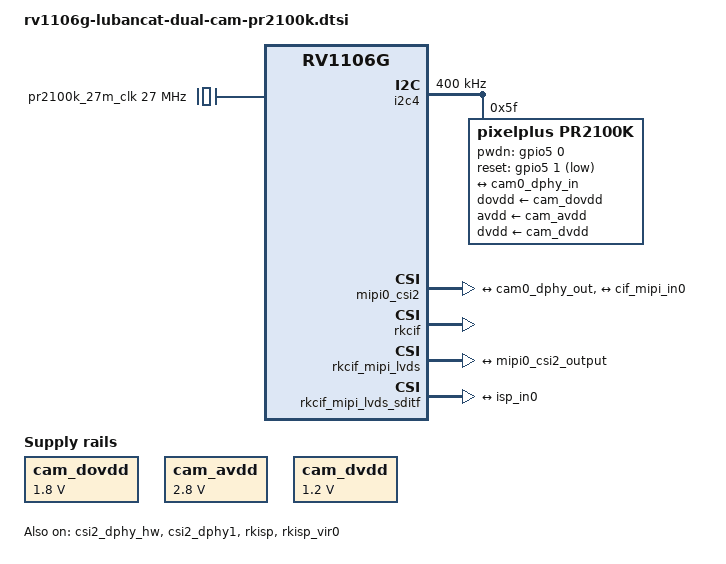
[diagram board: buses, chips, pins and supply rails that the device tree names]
// SPDX-License-Identifier: (GPL-2.0+ OR MIT)
/*
 * Dual AHD Camera via PR2100K Video Decoder on I2C4 (2-lane MIPI CSI-2)
 *
 * Copyright (c) 2026 Rockchip Electronics Co., Ltd.
 */

/ {
	pr2100k_27m_clk: pr2100k-27m-clock {
		compatible = "fixed-clock";
		#clock-cells = <0>;
		clock-frequency = <27000000>;
		clock-output-names = "pr2100k_27m_crystal";
	};

	cam_dovdd: cam-dovdd {
		compatible = "regulator-fixed";
		regulator-name = "cam_dovdd";
		regulator-always-on;
		regulator-boot-on;
		regulator-min-microvolt = <1800000>;
		regulator-max-microvolt = <1800000>;
	};

	cam_avdd: cam-avdd {
		compatible = "regulator-fixed";
		regulator-name = "cam_avdd";
		regulator-always-on;
		regulator-boot-on;
		regulator-min-microvolt = <2800000>;
		regulator-max-microvolt = <2800000>;
	};

	cam_dvdd: cam-dvdd {
		compatible = "regulator-fixed";
		regulator-name = "cam_dvdd";
		regulator-always-on;
		regulator-boot-on;
		regulator-min-microvolt = <1200000>;
		regulator-max-microvolt = <1200000>;
	};
};

&csi2_dphy_hw {
	status = "okay";
};

&csi2_dphy1 {
	status = "okay";

	ports {
		#address-cells = <1>;
		#size-cells = <0>;

		port@0 {
			reg = <0>;
			#address-cells = <1>;
			#size-cells = <0>;

			cam0_dphy_in: endpoint@0 {
				reg = <0>;
				remote-endpoint = <&pr2100k_out>;
				data-lanes = <1 2>;
			};
		};

		port@1 {
			reg = <1>;

			cam0_dphy_out: endpoint {
				remote-endpoint = <&mipi0_csi2_input>;
			};
		};
	};
};

&i2c4 {
	status = "okay";
	clock-frequency = <400000>;
	pinctrl-names = "default";
	pinctrl-0 = <&i2c4m2_xfer>;

	pr2100k: pr2100k@5f {
		compatible = "pixelplus,pr2100k";
		status = "okay";
		reg = <0x5f>;
		clocks = <&pr2100k_27m_clk>;
		clock-names = "xvclk";
		pwdn-gpios = <&gpio5 0 GPIO_ACTIVE_HIGH>;
		reset-gpios = <&gpio5 1 GPIO_ACTIVE_LOW>;
		dovdd-supply = <&cam_dovdd>;
		avdd-supply = <&cam_avdd>;
		dvdd-supply = <&cam_dvdd>;
		rockchip,camera-module-index = <0>;
		rockchip,camera-module-facing = "front";
		rockchip,camera-module-name = "PR2100K-AHD";
		rockchip,camera-module-lens-name = "default";

		port {
			pr2100k_out: endpoint {
				remote-endpoint = <&cam0_dphy_in>;
				data-lanes = <1 2>;
			};
		};
	};
};

&mipi0_csi2 {
	status = "okay";

	ports {
		#address-cells = <1>;
		#size-cells = <0>;

		port@0 {
			reg = <0>;
			mipi0_csi2_input: endpoint {
				remote-endpoint = <&cam0_dphy_out>;
			};
		};

		port@1 {
			reg = <1>;
			mipi0_csi2_output: endpoint {
				remote-endpoint = <&cif_mipi_in0>;
			};
		};
	};
};

&rkcif {
	status = "okay";
	pinctrl-names = "default";
	pinctrl-0 = <&mipi_pins>;
};

&rkcif_mipi_lvds {
	status = "okay";
	port {
		cif_mipi_in0: endpoint {
			remote-endpoint = <&mipi0_csi2_output>;
		};
	};
};

&rkcif_mipi_lvds_sditf {
	status = "okay";
	port {
		mipi_lvds0_sditf: endpoint {
			remote-endpoint = <&isp_in0>;
		};
	};
};

&rkisp {
	status = "okay";
};

&rkisp_vir0 {
	status = "okay";
	port@0 {
		isp_in0: endpoint {
			remote-endpoint = <&mipi_lvds0_sditf>;
		};
	};
};

&rkisp_vir1 {
	status = "disabled";
};
